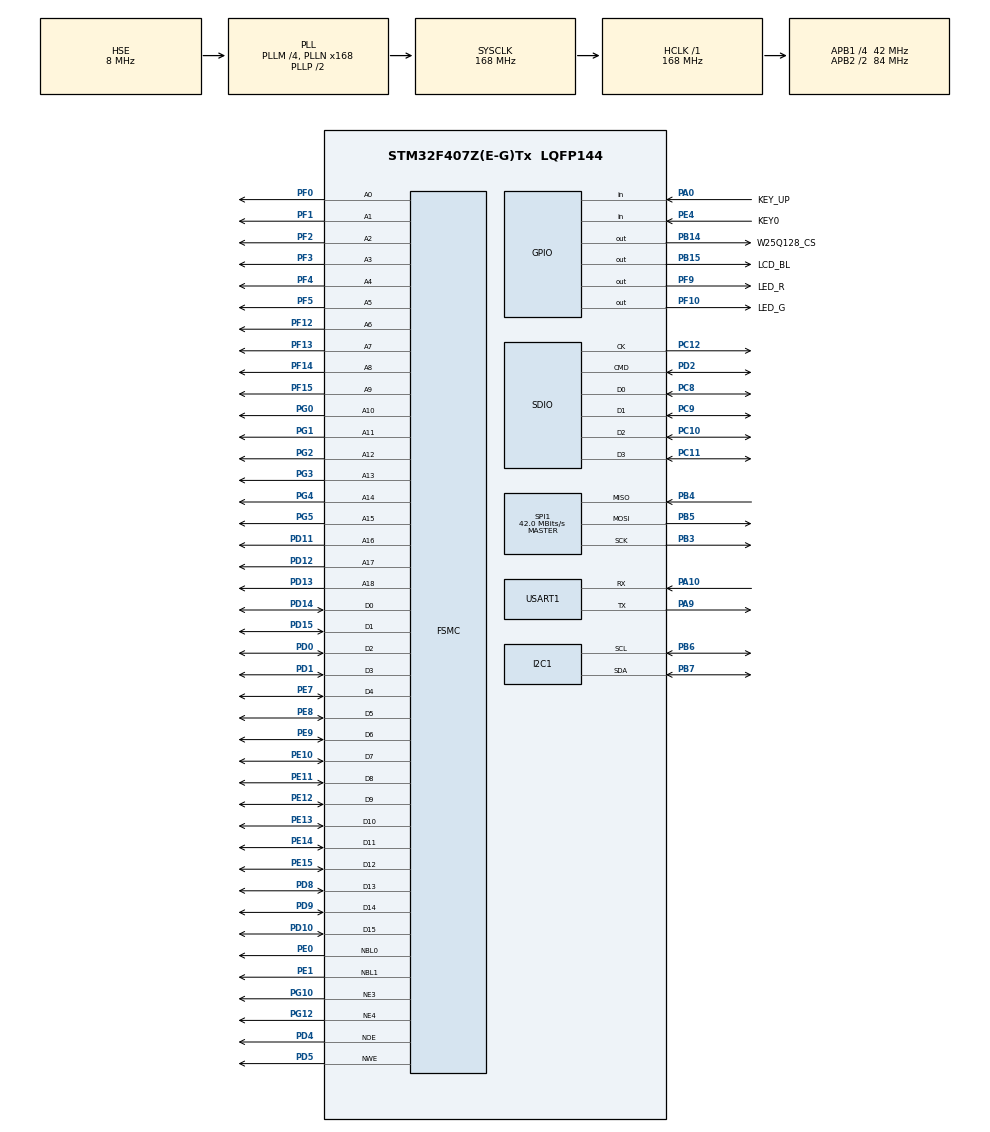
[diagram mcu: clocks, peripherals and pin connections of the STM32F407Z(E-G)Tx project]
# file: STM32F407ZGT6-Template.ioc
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FSMC.AddressSetupTime3=0
FSMC.AddressSetupTime4=2
FSMC.BusTurnAroundDuration3=0
FSMC.BusTurnAroundDuration4=0
FSMC.DataSetupTime3=8
FSMC.DataSetupTime4=16
FSMC.ExtendedAddressSetupTime4=4
FSMC.ExtendedBusTurnAroundDuration4=0
FSMC.ExtendedDataSetupTime4=9
FSMC.ExtendedMode4=FSMC_EXTENDED_MODE_ENABLE
FSMC.WriteOperation3=FSMC_WRITE_OPERATION_ENABLE
I2C1.I2C_Mode=I2C_Fast
Mcu.Family=STM32F4
Mcu.Name=STM32F407Z(E-G)Tx
Mcu.Package=LQFP144
NVIC.PriorityGroup=NVIC_PRIORITYGROUP_4
NVIC.TIM7_IRQn=true\:0\:0\:false\:false\:true\:true\:true\:true
NVIC.USART1_IRQn=true\:0\:0\:false\:false\:true\:true\:true\:true
PA0-WKUP.GPIO_Label=KEY_UP
PA0-WKUP.GPIO_PuPd=GPIO_PULLDOWN
PA0-WKUP.Signal=GPIO_Input
PA10.Mode=Asynchronous
PA10.Signal=USART1_RX
PA13.Mode=Serial_Wire
PA13.Signal=SYS_JTMS-SWDIO
PA14.Mode=Serial_Wire
PA14.Signal=SYS_JTCK-SWCLK
PA9.Mode=Asynchronous
PA9.Signal=USART1_TX
PB14.GPIO_Label=W25Q128_CS
PB14.GPIO_Speed=GPIO_SPEED_FREQ_HIGH
PB14.PinState=GPIO_PIN_SET
PB14.Signal=GPIO_Output
PB15.GPIO_Label=LCD_BL
PB15.Signal=GPIO_Output
PB3.Mode=Full_Duplex_Master
PB3.Signal=SPI1_SCK
PB4.Mode=Full_Duplex_Master
PB4.Signal=SPI1_MISO
PB5.Mode=Full_Duplex_Master
PB5.Signal=SPI1_MOSI
PB6.Mode=I2C
PB6.Signal=I2C1_SCL
PB7.Mode=I2C
PB7.Signal=I2C1_SDA
PC10.Mode=SD_4_bits_Wide_bus
PC10.Signal=SDIO_D2
PC11.Mode=SD_4_bits_Wide_bus
PC11.Signal=SDIO_D3
PC12.Mode=SD_4_bits_Wide_bus
PC12.Signal=SDIO_CK
PC8.Mode=SD_4_bits_Wide_bus
PC8.Signal=SDIO_D0
PC9.Mode=SD_4_bits_Wide_bus
PC9.Signal=SDIO_D1
PD0.Signal=FSMC_D2_DA2
PD1.Signal=FSMC_D3_DA3
PD10.Signal=FSMC_D15_DA15
PD11.Signal=FSMC_A16_CLE
PD12.Signal=FSMC_A17_ALE
PD13.Signal=FSMC_A18
PD14.Signal=FSMC_D0_DA0
PD15.Signal=FSMC_D1_DA1
PD2.Mode=SD_4_bits_Wide_bus
PD2.Signal=SDIO_CMD
PD4.Signal=FSMC_NOE
PD5.Signal=FSMC_NWE
PD8.Signal=FSMC_D13_DA13
PD9.Signal=FSMC_D14_DA14
PE0.Signal=FSMC_NBL0
PE1.Signal=FSMC_NBL1
PE10.Signal=FSMC_D7_DA7
PE11.Signal=FSMC_D8_DA8
PE12.Signal=FSMC_D9_DA9
PE13.Signal=FSMC_D10_DA10
PE14.Signal=FSMC_D11_DA11
PE15.Signal=FSMC_D12_DA12
PE4.GPIO_Label=KEY0
PE4.GPIO_PuPd=GPIO_PULLDOWN
PE4.Signal=GPIO_Input
PE7.Signal=FSMC_D4_DA4
PE8.Signal=FSMC_D5_DA5
PE9.Signal=FSMC_D6_DA6
PF0.Signal=FSMC_A0
PF1.Signal=FSMC_A1
PF10.GPIO_Label=LED_G
PF10.GPIO_PuPd=GPIO_PULLUP
PF10.PinState=GPIO_PIN_SET
PF10.Signal=GPIO_Output
PF12.Signal=FSMC_A6
PF13.Signal=FSMC_A7
PF14.Signal=FSMC_A8
PF15.Signal=FSMC_A9
PF2.Signal=FSMC_A2
PF3.Signal=FSMC_A3
PF4.Signal=FSMC_A4
PF5.Signal=FSMC_A5
PF9.GPIO_Label=LED_R
PF9.GPIO_PuPd=GPIO_PULLUP
PF9.PinState=GPIO_PIN_SET
PF9.Signal=GPIO_Output
PG0.Signal=FSMC_A10
PG1.Signal=FSMC_A11
PG10.Mode=NorPsramChipSelect3_3
PG10.Signal=FSMC_NE3
PG12.Mode=NorPsramChipSelect4_4
PG12.Signal=FSMC_NE4
PG2.Signal=FSMC_A12
PG3.Signal=FSMC_A13
PG4.Signal=FSMC_A14
PG5.Signal=FSMC_A15
PH0-OSC_IN.Mode=HSE-External-Oscillator
PH0-OSC_IN.Signal=RCC_OSC_IN
PH1-OSC_OUT.Mode=HSE-External-Oscillator
PH1-OSC_OUT.Signal=RCC_OSC_OUT
ProjectManager.HeapSize=0x200
ProjectManager.StackSize=0x400
ProjectManager.TargetToolchain=MDK-ARM V5.27
RCC.48MHZClocksFreq_Value=48000000
RCC.AHBFreq_Value=168000000
RCC.APB1CLKDivider=RCC_HCLK_DIV4
RCC.APB1Freq_Value=42000000
RCC.APB1TimFreq_Value=84000000
RCC.APB2CLKDivider=RCC_HCLK_DIV2
RCC.APB2Freq_Value=84000000
RCC.APB2TimFreq_Value=168000000
RCC.CortexFreq_Value=168000000
RCC.FLatency=FLASH_LATENCY_5
RCC.HCLKFreq_Value=168000000
RCC.HSE_VALUE=8000000
RCC.HSI_VALUE=16000000
RCC.LSE_VALUE=32768
RCC.PLLM=4
RCC.PLLN=168
RCC.PLLQ=7
RCC.PLLSourceVirtual=RCC_PLLSOURCE_HSE
RCC.SYSCLKFreq_VALUE=168000000
RCC.SYSCLKSource=RCC_SYSCLKSOURCE_PLLCLK
RCC.VCOOutputFreq_Value=336000000
SDIO.ClockDiv=1
SH.FSMC_A0.0=FSMC_A0,19b-a3
SH.FSMC_A1.0=FSMC_A1,19b-a3
SH.FSMC_A10.0=FSMC_A10,19b-a3
SH.FSMC_A11.0=FSMC_A11,19b-a3
SH.FSMC_A12.0=FSMC_A12,19b-a3
SH.FSMC_A13.0=FSMC_A13,19b-a3
SH.FSMC_A14.0=FSMC_A14,19b-a3
SH.FSMC_A15.0=FSMC_A15,19b-a3
SH.FSMC_A16_CLE.0=FSMC_A16,19b-a3
SH.FSMC_A17_ALE.0=FSMC_A17,19b-a3
SH.FSMC_A18.0=FSMC_A18,19b-a3
SH.FSMC_A2.0=FSMC_A2,19b-a3
SH.FSMC_A3.0=FSMC_A3,19b-a3
SH.FSMC_A4.0=FSMC_A4,19b-a3
SH.FSMC_A5.0=FSMC_A5,19b-a3
SH.FSMC_A6.0=FSMC_A6,A6_4
SH.FSMC_A6.1=FSMC_A6,19b-a3
SH.FSMC_A7.0=FSMC_A7,19b-a3
SH.FSMC_A8.0=FSMC_A8,19b-a3
SH.FSMC_A9.0=FSMC_A9,19b-a3
SH.FSMC_D0_DA0.0=FSMC_D0,16b-d4
SH.FSMC_D0_DA0.1=FSMC_D0,16b-d3
SH.FSMC_D10_DA10.0=FSMC_D10,16b-d4
SH.FSMC_D10_DA10.1=FSMC_D10,16b-d3
SH.FSMC_D11_DA11.0=FSMC_D11,16b-d4
SH.FSMC_D11_DA11.1=FSMC_D11,16b-d3
SH.FSMC_D12_DA12.0=FSMC_D12,16b-d4
SH.FSMC_D12_DA12.1=FSMC_D12,16b-d3
SH.FSMC_D13_DA13.0=FSMC_D13,16b-d4
SH.FSMC_D13_DA13.1=FSMC_D13,16b-d3
SH.FSMC_D14_DA14.0=FSMC_D14,16b-d4
SH.FSMC_D14_DA14.1=FSMC_D14,16b-d3
SH.FSMC_D15_DA15.0=FSMC_D15,16b-d4
SH.FSMC_D15_DA15.1=FSMC_D15,16b-d3
SH.FSMC_D1_DA1.0=FSMC_D1,16b-d4
SH.FSMC_D1_DA1.1=FSMC_D1,16b-d3
SH.FSMC_D2_DA2.0=FSMC_D2,16b-d4
SH.FSMC_D2_DA2.1=FSMC_D2,16b-d3
SH.FSMC_D3_DA3.0=FSMC_D3,16b-d4
SH.FSMC_D3_DA3.1=FSMC_D3,16b-d3
SH.FSMC_D4_DA4.0=FSMC_D4,16b-d4
SH.FSMC_D4_DA4.1=FSMC_D4,16b-d3
SH.FSMC_D5_DA5.0=FSMC_D5,16b-d4
SH.FSMC_D5_DA5.1=FSMC_D5,16b-d3
SH.FSMC_D6_DA6.0=FSMC_D6,16b-d4
SH.FSMC_D6_DA6.1=FSMC_D6,16b-d3
SH.FSMC_D7_DA7.0=FSMC_D7,16b-d4
SH.FSMC_D7_DA7.1=FSMC_D7,16b-d3
SH.FSMC_D8_DA8.0=FSMC_D8,16b-d4
SH.FSMC_D8_DA8.1=FSMC_D8,16b-d3
SH.FSMC_D9_DA9.0=FSMC_D9,16b-d4
SH.FSMC_D9_DA9.1=FSMC_D9,16b-d3
SH.FSMC_NBL0.0=FSMC_NBL0,2ByteEnable3
SH.FSMC_NBL1.0=FSMC_NBL1,2ByteEnable3
SH.FSMC_NOE.0=FSMC_NOE,Lcd4
SH.FSMC_NOE.1=FSMC_NOE,Sram3
SH.FSMC_NWE.0=FSMC_NWE,Lcd4
SH.FSMC_NWE.1=FSMC_NWE,Sram3
SPI1.CalculateBaudRate=42.0 MBits/s
SPI1.Direction=SPI_DIRECTION_2LINES
SPI1.Mode=SPI_MODE_MASTER
SPI1.VirtualType=VM_MASTER
TIM6.Period=10000
TIM6.Prescaler=84
TIM7.Period=10000-1
TIM7.Prescaler=8400-1
USART1.VirtualMode=VM_ASYNC
VP_FATFS_VS_SDIO.Mode=SDIO
VP_RNG_VS_RNG.Mode=RNG_Activate
VP_TIM6_VS_ClockSourceINT.Mode=Enable_Timer
VP_TIM7_VS_ClockSourceINT.Mode=Enable_Timer
board=custom

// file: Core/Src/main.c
/* USER CODE BEGIN Header */
/**
  ******************************************************************************
  * @file           : main.c
  * @brief          : Main program body
  ******************************************************************************
  * @attention
  *
  * Copyright (c) 2023 STMicroelectronics.
  * All rights reserved.
  *
  * This software is licensed under terms that can be found in the LICENSE file
  * in the root directory of this software component.
  * If no LICENSE file comes with this software, it is provided AS-IS.
  *
  ******************************************************************************
  */
/* USER CODE END Header */
#include "main.h"
#include "fatfs.h"
#include "i2c.h"
#include "rng.h"
#include "sdio.h"
#include "spi.h"
#include "tim.h"
#include "usart.h"
#include "gpio.h"
#include "fsmc.h"

/* USER CODE BEGIN PV */
uint8_t* log_buf = NULL;
uint8_t* uart1_rec_buf = NULL;
/* USER CODE END PV */

void SystemClock_Config(void);

int main(void)
{

  /* MCU Configuration--------------------------------------------------------*/

  /* Reset of all peripherals, Initializes the Flash interface and the Systick. */
  HAL_Init();

  /* Configure the system clock */
  SystemClock_Config();

  /* Initialize all configured peripherals */
  MX_GPIO_Init();
  MX_USART1_UART_Init();
  MX_TIM7_Init();
  MX_RNG_Init();
  MX_FSMC_Init();
  MX_TIM6_Init();
  MX_SPI1_Init();
  MX_SDIO_SD_Init();
  MX_FATFS_Init();
  MX_I2C1_Init();
  /* USER CODE BEGIN 2 */
	my_mem_init(SRAMEX);
	log_buf = mymalloc(SRAMEX, 100);
	uart1_rec_buf = mymalloc(SRAMEX, 500);

	if(f_mount(&SDFatFS, SDPath, 1) == FR_OK)
	{
		printf("SD mount ok\r\n");
	}else
	{
		printf("SD mount error\r\n");
	}
	W25QXX_Init();
	OLED_Init();
	OLED_Clear(0);
	OLED_Refresh();

	HAL_UARTEx_ReceiveToIdle_IT(&huart1, uart1_rec_buf, 500);
	HAL_TIM_Base_Start_IT(&htim7);
  /* USER CODE END 2 */

  /* Infinite loop */
  /* USER CODE BEGIN WHILE */
  while (1)
  {
		uint8_t key = Get_key_with_undo(20);
		if(key == key_up_down)
		{
			uint16_t memused = my_mem_perused(SRAMEX);
			sprintf((char *)log_buf, "SRAMEX(963Kb) used %d.%01d%%\r\n", memused / 10, memused % 10);
			lcd_show_string(10, 20, 32, (char*)log_buf, RED);
			printf("%s",log_buf);
		}
		if(key == key0_down)
		{

		}

		static uint32_t num[2] = {0xa1, 0xa2};

			if(num[0] > 0xaf)
			{
				num[0] = 0xa2;
			}
			num[0] += 1;

		Font_read_text(42, 20, (uint8_t*)num);
//		HAL_Delay(50);
    /* USER CODE END WHILE */

  }
}

void SystemClock_Config(void)
{
  RCC_OscInitTypeDef RCC_OscInitStruct = {0};
  RCC_ClkInitTypeDef RCC_ClkInitStruct = {0};

  /** Configure the main internal regulator output voltage
  */
  __HAL_RCC_PWR_CLK_ENABLE();
  __HAL_PWR_VOLTAGESCALING_CONFIG(PWR_REGULATOR_VOLTAGE_SCALE1);

  /** Initializes the RCC Oscillators according to the specified parameters
  * in the RCC_OscInitTypeDef structure.
  */
  RCC_OscInitStruct.OscillatorType = RCC_OSCILLATORTYPE_HSE;
  RCC_OscInitStruct.HSEState = RCC_HSE_ON;
  RCC_OscInitStruct.PLL.PLLState = RCC_PLL_ON;
  RCC_OscInitStruct.PLL.PLLSource = RCC_PLLSOURCE_HSE;
  RCC_OscInitStruct.PLL.PLLM = 4;
  RCC_OscInitStruct.PLL.PLLN = 168;
  RCC_OscInitStruct.PLL.PLLP = RCC_PLLP_DIV2;
  RCC_OscInitStruct.PLL.PLLQ = 7;
  if (HAL_RCC_OscConfig(&RCC_OscInitStruct) != HAL_OK)
  {
    Error_Handler();
  }

  /** Initializes the CPU, AHB and APB buses clocks
  */
  RCC_ClkInitStruct.ClockType = RCC_CLOCKTYPE_HCLK|RCC_CLOCKTYPE_SYSCLK
                              |RCC_CLOCKTYPE_PCLK1|RCC_CLOCKTYPE_PCLK2;
  RCC_ClkInitStruct.SYSCLKSource = RCC_SYSCLKSOURCE_PLLCLK;
  RCC_ClkInitStruct.AHBCLKDivider = RCC_SYSCLK_DIV1;
  RCC_ClkInitStruct.APB1CLKDivider = RCC_HCLK_DIV4;
  RCC_ClkInitStruct.APB2CLKDivider = RCC_HCLK_DIV2;

  if (HAL_RCC_ClockConfig(&RCC_ClkInitStruct, FLASH_LATENCY_5) != HAL_OK)
  {
    Error_Handler();
  }
}

/* USER CODE BEGIN 4 */

/* */
void HAL_TIM_PeriodElapsedCallback(TIM_HandleTypeDef *htim)
{
	/*  */
	if(htim == &htim7)
	{

	}
}

/*  */
void HAL_UARTEx_RxEventCallback(UART_HandleTypeDef *huart, uint16_t Size)
{
	if(huart == &huart1)
	{
		uart1_rec_buf[Size] = '\0';

		HAL_UART_Transmit(&huart1, uart1_rec_buf, Size, 0xff);

		HAL_UARTEx_ReceiveToIdle_IT(&huart1, uart1_rec_buf, 500);
	}
}
/* USER CODE END 4 */

void Error_Handler(void)
{
  /* USER CODE BEGIN Error_Handler_Debug */
  /* User can add his own implementation to report the HAL error return state */
   __disable_irq();
   while (1)
	{
		printf("Error_Handler \r\n");
	}
//	__enable_irq();
  /* USER CODE END Error_Handler_Debug */
}
